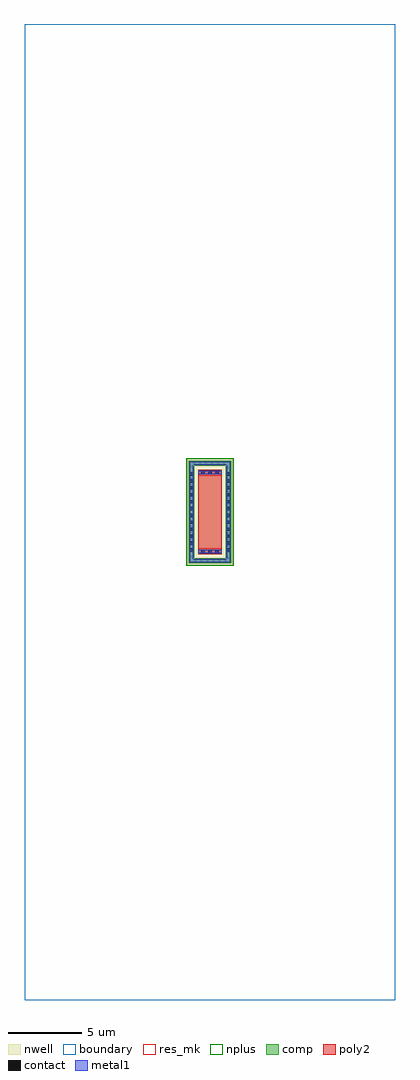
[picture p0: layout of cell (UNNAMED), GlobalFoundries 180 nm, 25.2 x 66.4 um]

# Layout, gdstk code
import gdstk
lib = gdstk.Library(unit=1e-6, precision=1e-09)
def R(c, l, rs):  # rectangles x0, y0, x1, y1
    for r in rs: c.add(gdstk.rectangle(r[:2], r[2:], *l))
def A(c, l, x, y, w, h, nx, ny, dx, dy):  # array of equal rectangles
    R(c, l, [(x+i*dx, y+j*dy, x+i*dx+w, y+j*dy+h) for i in range(nx) for j in range(ny)])
boundary = (0, 0)
nwell = (21, 0)
comp = (22, 0)
poly2 = (30, 0)
nplus = (32, 0)
contact = (33, 0)
metal1 = (34, 0)
res_mk = (110, 5)

c__unnamed_ = lib.new_cell('(UNNAMED)')
R(c__unnamed_, boundary, [(-12.6,-33.2,12.6,33.2)])
R(c__unnamed_, nwell, [(-1.56,-3.62,1.56,3.62)])
R(c__unnamed_, comp, [(-1.44,-3.5,1.44,-3.14), (-1.44,-3.14,-1.08,3.14), (1.08,-3.14,1.44,3.14), (-1.44,3.14,1.44,3.5)])
R(c__unnamed_, poly2, [(-0.8,-2.86,0.8,2.86)])
R(c__unnamed_, nplus, [(-1.6,-3.66,1.6,-3.03), (-0.98,-3.04,0.98,3.04), (-1.6,-3.03,-0.97,3.03), (0.97,-3.03,1.6,3.03), (-1.6,3.03,1.6,3.66)])
A(c__unnamed_, contact, -0.58, -2.79, 0.22, 0.22, 3, 2, 0.47, 5.36)
A(c__unnamed_, contact, -1.37, -2.695, 0.22, 0.22, 1, 12, 0, 0.47)
A(c__unnamed_, contact, 1.15, -2.695, 0.22, 0.22, 1, 12, 0, 0.47)
R(c__unnamed_, metal1, [(-1.375,-3.435,1.375,-3.205), (-1.375,-3.205,-1.145,3.205), (1.145,-3.205,1.375,3.205), (-0.79,-2.795,0.79,-2.565), (-0.79,2.565,0.79,2.795), (-1.375,3.205,1.375,3.435)])
R(c__unnamed_, res_mk, [(-0.8,-2.5,0.8,2.5)])

lib.write_gds('_UNNAMED_.gds')
